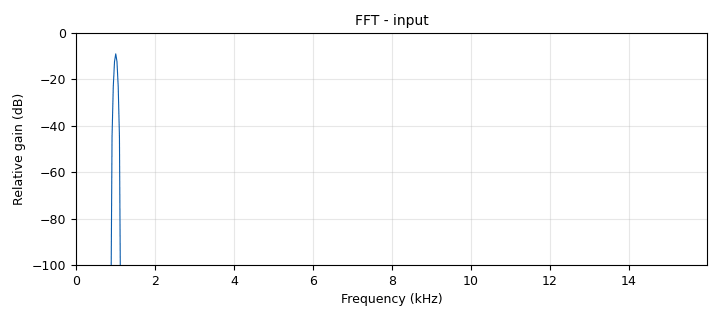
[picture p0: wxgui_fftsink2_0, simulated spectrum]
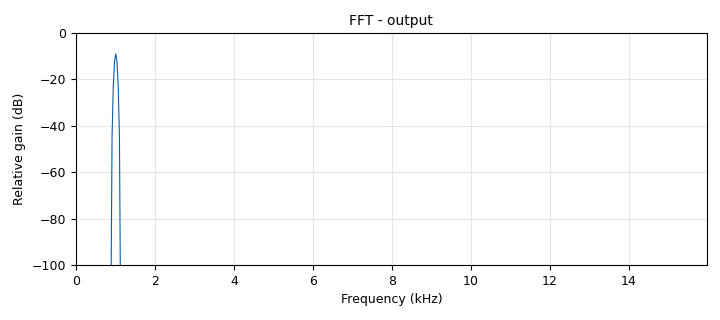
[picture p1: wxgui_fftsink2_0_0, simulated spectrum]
<?xml version='1.0' encoding='utf-8'?>
<?grc format='1' created='3.7.11'?>
<flow_graph>
<block>
<key>options</key>
<param><key>id</key><value>top_block</value></param>
<param><key>generate_options</key><value>wx_gui</value></param>
</block>
<block>
<key>variable_slider</key>
<param><key>id</key><value>gain</value></param>
<param><key>converver</key><value>float_converter</value></param>
<param><key>value</key><value>1</value></param>
<param><key>label</key><value></value></param>
<param><key>max</key><value>100</value></param>
<param><key>min</key><value>0</value></param>
<param><key>num_steps</key><value>100</value></param>
<param><key>style</key><value>wx.SL_HORIZONTAL</value></param>
</block>
<block>
<key>variable</key>
<param><key>id</key><value>samp_rate</value></param>
<param><key>value</key><value>32000</value></param>
</block>
<block>
<key>analog_sig_source_x</key>
<param><key>id</key><value>analog_sig_source_x_0</value></param>
<param><key>amp</key><value>1</value></param>
<param><key>freq</key><value>1000</value></param>
<param><key>offset</key><value>0</value></param>
<param><key>type</key><value>float</value></param>
<param><key>samp_rate</key><value>samp_rate</value></param>
<param><key>waveform</key><value>analog.GR_COS_WAVE</value></param>
</block>
<block>
<key>audio_sink</key>
<param><key>id</key><value>audio_sink_0</value></param>
<param><key>_enabled</key><value>0</value></param>
<param><key>samp_rate</key><value>samp_rate</value></param>
</block>
<block>
<key>blocks_multiply_const_vxx</key>
<param><key>id</key><value>blocks_multiply_const_vxx_0</value></param>
<param><key>const</key><value>gain</value></param>
<param><key>type</key><value>float</value></param>
</block>
<block>
<key>blocks_throttle</key>
<param><key>id</key><value>blocks_throttle_0</value></param>
<param><key>samples_per_second</key><value>samp_rate</value></param>
<param><key>type</key><value>float</value></param>
</block>
<block>
<key>blocks_wavfile_source</key>
<param><key>id</key><value>blocks_wavfile_source_0</value></param>
<param><key>_enabled</key><value>0</value></param>
<param><key>file</key><value>C:\Users\churcch1\Downloads\fesdr-examples-vol1.tar\ch7\HumanEvents_s32k.wav</value></param>
<param><key>repeat</key><value>True</value></param>
</block>
<block>
<key>wxgui_fftsink2</key>
<param><key>id</key><value>wxgui_fftsink2_0</value></param>
<param><key>avg_alpha</key><value>0</value></param>
<param><key>average</key><value>False</value></param>
<param><key>baseband_freq</key><value>0</value></param>
<param><key>fft_size</key><value>1024</value></param>
<param><key>freqvar</key><value>None</value></param>
<param><key>peak_hold</key><value>False</value></param>
<param><key>ref_level</key><value>0</value></param>
<param><key>ref_scale</key><value>2.0</value></param>
<param><key>fft_rate</key><value>15</value></param>
<param><key>samp_rate</key><value>samp_rate</value></param>
<param><key>title</key><value>FFT - input</value></param>
<param><key>type</key><value>float</value></param>
<param><key>win</key><value>None</value></param>
<param><key>y_divs</key><value>10</value></param>
<param><key>y_per_div</key><value>10</value></param>
</block>
<block>
<key>wxgui_fftsink2</key>
<param><key>id</key><value>wxgui_fftsink2_0_0</value></param>
<param><key>avg_alpha</key><value>0</value></param>
<param><key>average</key><value>False</value></param>
<param><key>baseband_freq</key><value>0</value></param>
<param><key>fft_size</key><value>1024</value></param>
<param><key>freqvar</key><value>None</value></param>
<param><key>peak_hold</key><value>False</value></param>
<param><key>ref_level</key><value>0</value></param>
<param><key>ref_scale</key><value>2.0</value></param>
<param><key>fft_rate</key><value>15</value></param>
<param><key>samp_rate</key><value>samp_rate</value></param>
<param><key>title</key><value>FFT - output</value></param>
<param><key>type</key><value>float</value></param>
<param><key>win</key><value>None</value></param>
<param><key>y_divs</key><value>10</value></param>
<param><key>y_per_div</key><value>10</value></param>
</block>
<block>
<key>wxgui_scopesink2</key>
<param><key>id</key><value>wxgui_scopesink2_0</value></param>
<param><key>ac_couple</key><value>False</value></param>
<param><key>_enabled</key><value>0</value></param>
<param><key>num_inputs</key><value>1</value></param>
<param><key>samp_rate</key><value>samp_rate</value></param>
<param><key>t_scale</key><value>0</value></param>
<param><key>title</key><value>output</value></param>
<param><key>trig_mode</key><value>wxgui.TRIG_MODE_AUTO</value></param>
<param><key>type</key><value>float</value></param>
<param><key>v_offset</key><value>0</value></param>
<param><key>v_scale</key><value>0</value></param>
<param><key>xy_mode</key><value>False</value></param>
<param><key>y_axis_label</key><value>Counts</value></param>
</block>
<block>
<key>wxgui_scopesink2</key>
<param><key>id</key><value>wxgui_scopesink2_0_0</value></param>
<param><key>ac_couple</key><value>False</value></param>
<param><key>_enabled</key><value>0</value></param>
<param><key>num_inputs</key><value>1</value></param>
<param><key>samp_rate</key><value>samp_rate</value></param>
<param><key>t_scale</key><value>0</value></param>
<param><key>title</key><value>input</value></param>
<param><key>trig_mode</key><value>wxgui.TRIG_MODE_AUTO</value></param>
<param><key>type</key><value>float</value></param>
<param><key>v_offset</key><value>0</value></param>
<param><key>v_scale</key><value>0</value></param>
<param><key>xy_mode</key><value>False</value></param>
<param><key>y_axis_label</key><value>Counts</value></param>
</block>
<connection><source_block_id>analog_sig_source_x_0</source_block_id><sink_block_id>blocks_throttle_0</sink_block_id><source_key>0</source_key><sink_key>0</sink_key></connection>
<connection><source_block_id>blocks_multiply_const_vxx_0</source_block_id><sink_block_id>audio_sink_0</sink_block_id><source_key>0</source_key><sink_key>0</sink_key></connection>
<connection><source_block_id>blocks_multiply_const_vxx_0</source_block_id><sink_block_id>wxgui_fftsink2_0_0</sink_block_id><source_key>0</source_key><sink_key>0</sink_key></connection>
<connection><source_block_id>blocks_multiply_const_vxx_0</source_block_id><sink_block_id>wxgui_scopesink2_0</sink_block_id><source_key>0</source_key><sink_key>0</sink_key></connection>
<connection><source_block_id>blocks_throttle_0</source_block_id><sink_block_id>blocks_multiply_const_vxx_0</sink_block_id><source_key>0</source_key><sink_key>0</sink_key></connection>
<connection><source_block_id>blocks_throttle_0</source_block_id><sink_block_id>wxgui_fftsink2_0</sink_block_id><source_key>0</source_key><sink_key>0</sink_key></connection>
<connection><source_block_id>blocks_throttle_0</source_block_id><sink_block_id>wxgui_scopesink2_0_0</sink_block_id><source_key>0</source_key><sink_key>0</sink_key></connection>
<connection><source_block_id>blocks_wavfile_source_0</source_block_id><sink_block_id>blocks_multiply_const_vxx_0</sink_block_id><source_key>0</source_key><sink_key>0</sink_key></connection>
<connection><source_block_id>blocks_wavfile_source_0</source_block_id><sink_block_id>wxgui_scopesink2_0_0</sink_block_id><source_key>0</source_key><sink_key>0</sink_key></connection>
</flow_graph>
